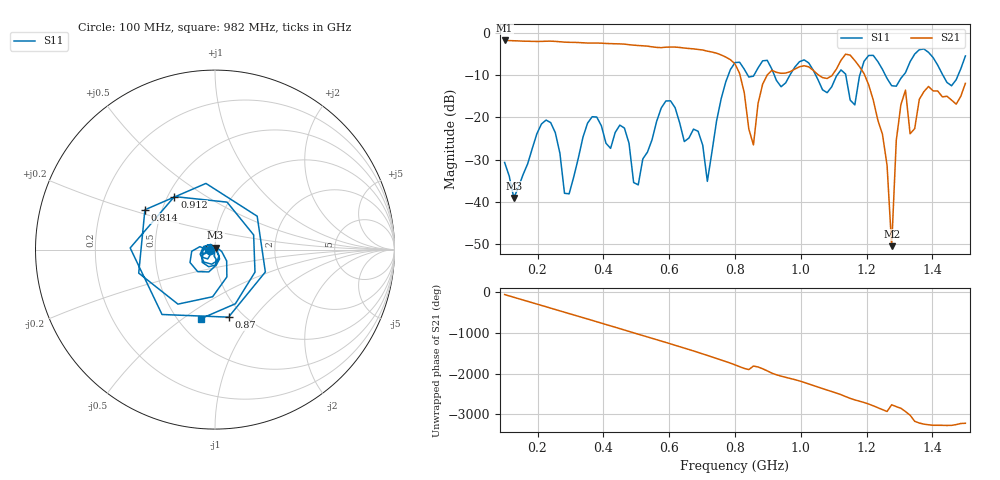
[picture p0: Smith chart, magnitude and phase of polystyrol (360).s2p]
! NanoVNA-App
! Date: 2025-09-25 15:32:41
! Start: 100MHz Stop: 1,5GHz Points: 101
! S-Parameter data: F S11 S21 S12 S22
# Hz S RI R 50
!  Frequency  S11_Real  S11_Imag  S21_Real  S21_Imag  S12_Real  S12_Imag  S22_Real  S22_Imag
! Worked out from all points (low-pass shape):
!   101 points, 100 MHz to 1.5 GHz, reference 50 ohm
!   highest |S21| = -1.80 dB at 100 MHz (marker M1); lowest = -50.5 dB at 1.276 GHz (marker M2)
!   |S21| within 3 dB of the highest: start of sweep to 743.1 MHz
!   lowest |S11| = -39.1 dB at 128 MHz (marker M3), VSWR 1.02, Z = 50.3 + j1.06 ohm
!   |S11| at or under -10 dB: start of sweep to 779.7 MHz; 1.045 GHz to 1.11 GHz (65.17 MHz wide, 6.05 % of centre); 1.257 GHz to 1.312 GHz (55.26 MHz wide, 4.3 % of centre) (the widest 3 of 7)
!   S12 and S22 are empty: the file has one direction only
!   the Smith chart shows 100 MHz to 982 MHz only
!   S11 on the Smith chart (normalised r, x): 100 MHz: 0.94, -0.01; 814 MHz: 0.40, +0.22; 870 MHz: 0.86, -0.76; 912 MHz: 0.54, +0.37; 982 MHz: 0.64, -0.59
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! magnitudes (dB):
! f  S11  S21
! 100 MHz  -30.7  -1.8
! 128 MHz  -39.1  -1.9
! 212 MHz  -21.6  -2.0
! 282 MHz  -38.0  -2.2
! 338 MHz  -24.7  -2.4
! 464 MHz  -22.5  -2.7
! 506 MHz  -36.0  -3.0
! 576 MHz  -17.8  -3.5
! 716 MHz  -35.2  -4.3
! 800 MHz  -7.0  -7.4
! 814 MHz  -7.0  -9.6
! 856 MHz  -10.3  -26.5
! 870 MHz  -8.3  -16.7
! 912 MHz  -8.6  -8.9
! 982 MHz  -8.1  -8.6
! 1.038 GHz  -8.9  -8.9
! 1.192 GHz  -6.7  -9.6
! 1.248 GHz  -8.6  -24.0
! 1.276 GHz  -12.5  -50.5
! 1.29 GHz  -12.6  -25.5
! 1.318 GHz  -9.4  -13.6
! 1.5 GHz  -5.5  -12.0
